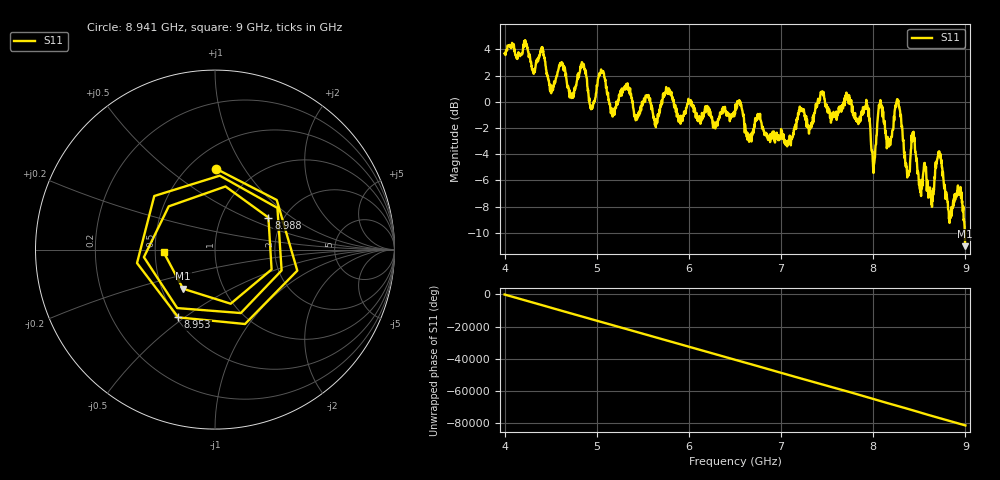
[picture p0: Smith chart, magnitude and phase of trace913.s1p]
! Created with skrf 1.8.0 (http://scikit-rf.org).
# Hz S RI R 50.0
!freq ReS11 ImS11
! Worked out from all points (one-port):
!   1601 points, 4 GHz to 9 GHz, reference 50 ohm
!   lowest |S11| = -11.0 dB at 8.997 GHz (marker M1), VSWR 1.78, Z = 32.1 - j15.2 ohm
!   |S11| at or under -10 dB: 8.993646 GHz to end of sweep
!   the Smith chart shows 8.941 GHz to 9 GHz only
!   S11 on the Smith chart (normalised r, x): 8.941 GHz: 0.67, +0.76; 8.953 GHz: 0.51, -0.47; 8.988 GHz: 1.67, +0.68; 9 GHz: 0.56, -0.02
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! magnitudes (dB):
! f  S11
! 4 GHz  3.7
! 4.409 GHz  4.2
! 4.509 GHz  0.8
! 4.625 GHz  2.8
! 4.731 GHz  0.4
! 4.856 GHz  2.7
! 4.947 GHz  -0.5
! 5.05 GHz  2.3
! 5.25 GHz  0.6
! 5.875 GHz  -0.9
! 6.5 GHz  -0.9
! 7.125 GHz  -2.6
! 7.75 GHz  -0.2
! 7.938 GHz  -0.4
! 8.003 GHz  -5.4
! 8.075 GHz  -0.2
! 8.166 GHz  -2.9
! 8.266 GHz  0.2
! 8.375 GHz  -5.6
! 8.434 GHz  -2.5
! 8.619 GHz  -7.0
! 8.716 GHz  -3.8
! 8.828 GHz  -9.2
! 8.941 GHz  -6.9
! 8.953 GHz  -7.3
! 8.988 GHz  -9.2
! 8.997 GHz  -11.0
! 9 GHz  -10.9
